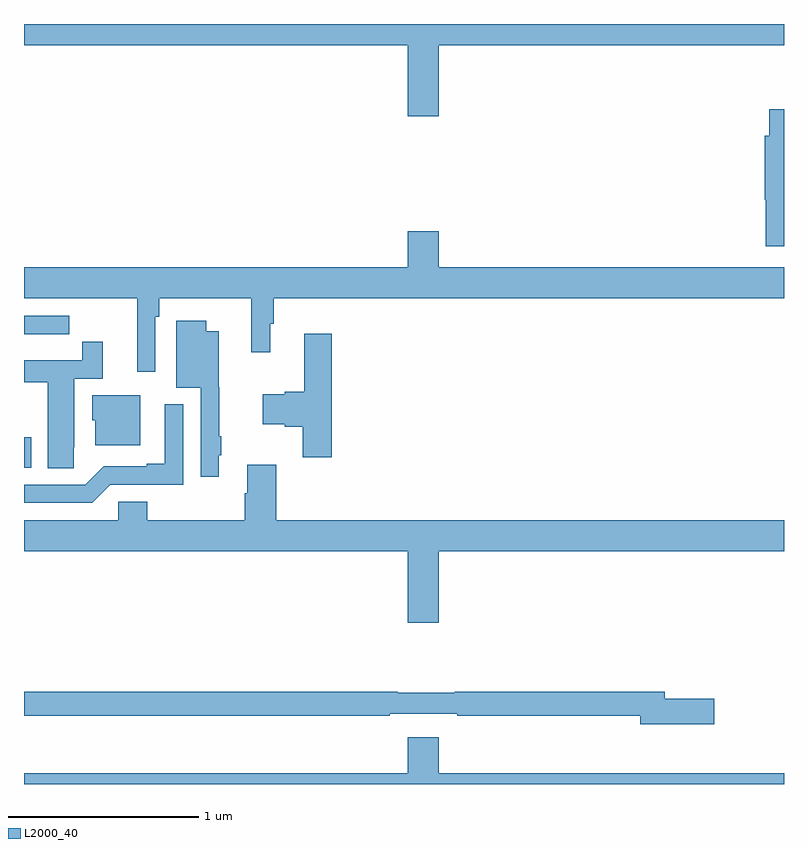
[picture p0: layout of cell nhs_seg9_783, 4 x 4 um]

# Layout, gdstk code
import gdstk
lib = gdstk.Library(unit=1e-6, precision=1e-09)
def R(c, l, rs):  # rectangles x0, y0, x1, y1
    for r in rs: c.add(gdstk.rectangle(r[:2], r[2:], *l))
def P(c, l, *ps):  # polygons
    for p in ps: c.add(gdstk.Polygon(p, *l))
L2000_40 = (2000, 40)

nhs_seg9_783 = lib.new_cell('nhs_seg9_783')
R(nhs_seg9_783, L2000_40, [(151,1226.165,151.039,1226.325)])
P(nhs_seg9_783, L2000_40, [(153.184,1228.388),(155,1228.388),(155,1228.5),(151,1228.5),(151,1228.388),(153.02,1228.388),(153.02,1228.014),(153.184,1228.014)],
  [(155,1228.051),(154.922,1228.051),(154.922,1227.912),(154.898,1227.912),(154.898,1227.576),(154.903,1227.576),(154.903,1227.33),(155,1227.33)],
  [(151.692,1226.96),(151.712,1226.96),(151.712,1227.056),(152.197,1227.056),(152.197,1226.772),(152.296,1226.772),(152.296,1226.922),(152.315,1226.922),(152.315,1227.056),(155,1227.056),(155,1227.22),(153.184,1227.22),(153.184,1227.409),(153.02,1227.409),(153.02,1227.22),(151,1227.22),(151,1227.056),(151.595,1227.056),(151.595,1226.67),(151.692,1226.67)],
  [(151.124,1226.868),(151.237,1226.868),(151.237,1226.964),(151,1226.964),(151,1226.867),(151.124,1226.867)],
  [(152.026,1226.23),(152.038,1226.23),(152.038,1226.33),(152.028,1226.33),(152.028,1226.589),(152.026,1226.589),(152.026,1226.884),(151.96,1226.884),(151.96,1226.938),(151.802,1226.938),(151.802,1226.585),(151.929,1226.585),(151.929,1226.118),(152.026,1226.118)],
  [(152.621,1226.869),(152.474,1226.869),(152.474,1226.564),(152.373,1226.564),(152.373,1226.551),(152.256,1226.551),(152.256,1226.393),(152.373,1226.393),(152.373,1226.381),(152.467,1226.381),(152.467,1226.22),(152.621,1226.22)],
  [(151.263,1226.272),(151.264,1226.272),(151.264,1226.634),(151.415,1226.634),(151.415,1226.827),(151.306,1226.827),(151.306,1226.73),(151,1226.73),(151,1226.614),(151.124,1226.614),(151.124,1226.161),(151.263,1226.161)],
  [(151.612,1226.545),(151.358,1226.545),(151.358,1226.415),(151.376,1226.415),(151.376,1226.282),(151.612,1226.282)],
  [(151.455,1226.076),(151.839,1226.076),(151.839,1226.5),(151.742,1226.5),(151.742,1226.185),(151.646,1226.185),(151.646,1226.172),(151.419,1226.172),(151.323,1226.076),(151,1226.076),(151,1225.98),(151.359,1225.98)],
  [(151.497,1225.986),(151.497,1225.888),(151,1225.888),(151,1225.724),(153.02,1225.724),(153.02,1225.35),(153.184,1225.35),(153.184,1225.724),(155,1225.724),(155,1225.888),(152.327,1225.888),(152.327,1226.179),(152.174,1226.179),(152.174,1226.03),(152.162,1226.03),(152.162,1225.888),(151.649,1225.888),(151.649,1225.986)],
  [(154.633,1224.95),(154.372,1224.95),(154.372,1224.986),(153.268,1224.986),(153.268,1224.979),(152.968,1224.979),(152.968,1224.986),(151,1224.986),(151,1224.858),(152.924,1224.858),(152.924,1224.87),(153.28,1224.87),(153.28,1224.858),(154.244,1224.858),(154.244,1224.815),(154.633,1224.815)],
  [(155,1224.556),(153.184,1224.556),(153.184,1224.745),(153.02,1224.745),(153.02,1224.556),(151,1224.556),(151,1224.5),(155,1224.5)])

lib.write_gds('nhs_seg9_783.gds')
